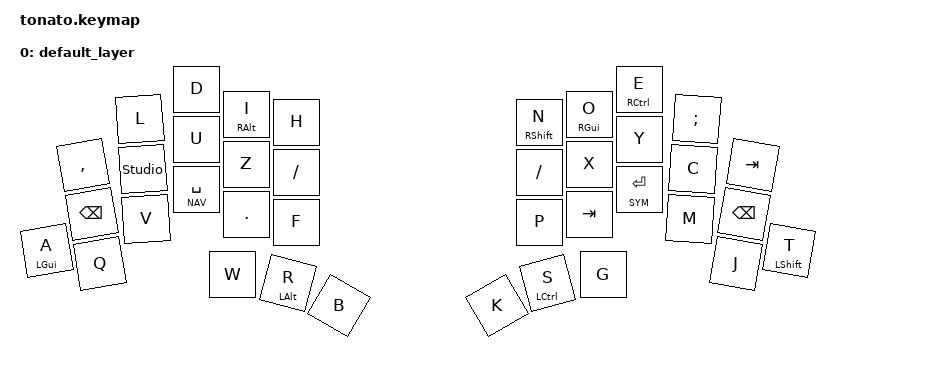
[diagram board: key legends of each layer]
#include <behaviors.dtsi>
#include <dt-bindings/zmk/keys.h>

/ {
    keymap {
        compatible = "zmk,keymap";

        default_layer {
	    bindings = <
                &kp Q       &kp W       &kp F       &kp P       &kp G           &kp J       &kp L       &kp U       &kp Y       &kp SEMI
                &mt LGUI A  &mt LALT R  &mt LCTRL S &mt LSHFT T &kp D           &kp H       &mt RSHFT N &mt RCTRL E &mt RALT I  &mt RGUI O
    &studio_unlock       &kp Z       &kp X       &kp C       &kp V       &kp B           &kp K       &kp M       &kp COMMA   &kp DOT     &kp FSLH    &kp FSLH
                                        &kp TAB     &kp TAB     &lt NAV SPACE   &lt SYM RET &kp BSPC    &kp BSPC
                        >;
        };
    };
 };
